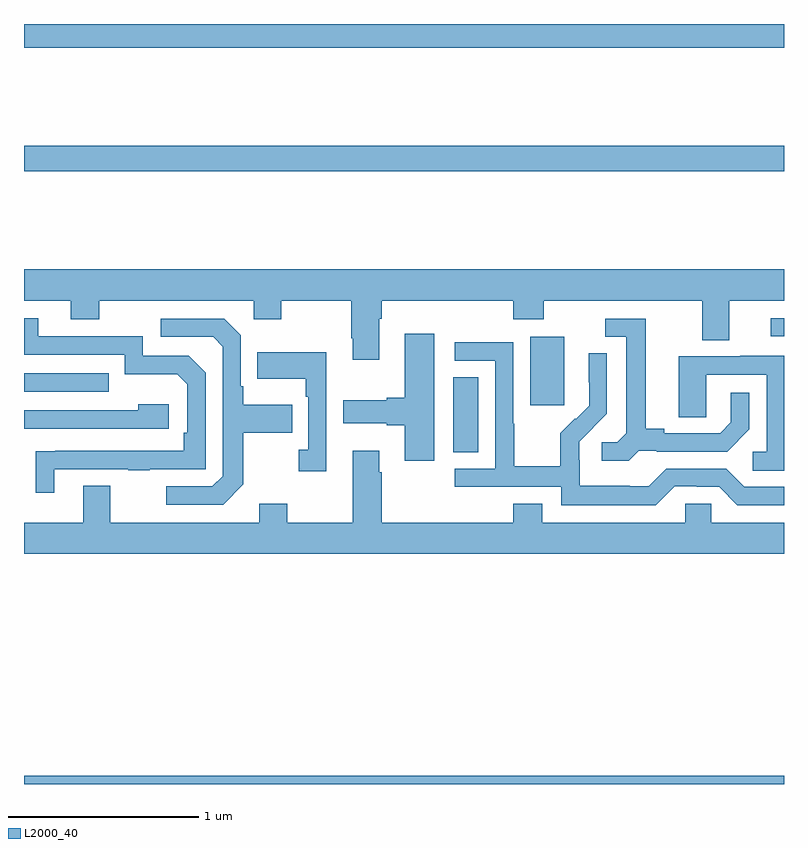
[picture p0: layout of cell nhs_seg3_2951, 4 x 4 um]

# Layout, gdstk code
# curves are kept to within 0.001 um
import gdstk
lib = gdstk.Library(unit=1e-6, precision=1e-09)
def R(c, l, rs):  # rectangles x0, y0, x1, y1
    for r in rs: c.add(gdstk.rectangle(r[:2], r[2:], *l))
def P(c, l, *ps):  # polygons
    for p in ps: c.add(gdstk.Polygon(p, *l))
L2000_40 = (2000, 40)

nhs_seg3_2951 = lib.new_cell('nhs_seg3_2951')
R(nhs_seg3_2951, L2000_40, [(265,670.4,269,670.444), (267.26,672.145,267.391,672.542), (267.665,672.393,267.844,672.754), (265,672.465,265.445,672.561), (268.929,672.756,269,672.852), (265,673.624,269,673.76), (265,674.276,269,674.4)])
P(nhs_seg3_2951, L2000_40, [(265,672.944),(265.247,672.944),(265.247,672.845),(265.395,672.845),(265.395,672.944),(266.208,672.944),(266.208,672.845),(266.355,672.845),(266.355,672.944),(266.722,672.944),(266.722,672.745),(266.729,672.745),(266.729,672.633),(266.869,672.633),(266.869,672.848),(266.882,672.848),(266.882,672.944),(267.575,672.944),(267.575,672.845),(267.735,672.845),(267.735,672.944),(268.571,672.944),(268.571,672.736),(268.711,672.736),(268.711,672.944),(269,672.944),(269,673.108),(265,673.108)],
  [(265.159,672.057),(265.549,672.057),(265.549,672.052),(265.661,672.052),(265.661,672.057),(265.956,672.057),(265.956,672.564),(265.866,672.654),(265.626,672.654),(265.626,672.756),(265.075,672.756),(265.075,672.852),(265,672.852),(265,672.66),(265.53,672.66),(265.53,672.557),(265.807,672.557),(265.86,672.504),(265.86,672.25),(265.84,672.25),(265.84,672.153),(265.063,672.152),(265.063,671.934),(265.159,671.934)],
  [(268.236,672.153),(268.33,672.153),(268.33,672.15),(268.702,672.15),(268.818,672.266),(268.818,672.46),(268.721,672.46),(268.721,672.303),(268.664,672.246),(268.369,672.246),(268.369,672.269),(268.273,672.269),(268.273,672.849),(268.059,672.849),(268.059,672.753),(268.169,672.753),(268.169,672.245),(268.122,672.198),(268.041,672.198),(268.041,672.101),(268.184,672.101)],
  [(266.155,671.977),(266.155,672.25),(266.411,672.25),(266.411,672.397),(266.155,672.397),(266.155,672.493),(266.142,672.493),(266.142,672.762),(266.055,672.849),(265.719,672.849),(265.719,672.753),(265.995,672.753),(266.046,672.702),(266.046,672.021),(265.992,671.967),(265.749,671.967),(265.749,671.871),(266.049,671.871)],
  [(267.16,672.769),(267.005,672.769),(267.005,672.434),(266.909,672.434),(266.909,672.421),(266.679,672.421),(266.679,672.299),(266.909,672.299),(266.909,672.287),(267.005,672.287),(267.005,672.102),(267.16,672.102)],
  [(268.425,671.967),(268.541,671.967),(268.541,671.964),(268.659,671.964),(268.755,671.868),(269,671.868),(269,671.964),(268.791,671.964),(268.695,672.06),(268.38,672.06),(268.287,671.967),(268.187,671.967),(268.187,671.971),(267.924,671.971),(267.924,672.105),(267.922,672.105),(267.922,672.202),(268.068,672.35),(268.068,672.668),(267.972,672.668),(267.972,672.514),(267.974,672.514),(267.974,672.392),(267.903,672.321),(267.9,672.324),(267.823,672.247),(267.823,672.073),(267.579,672.073),(267.579,672.296),(267.576,672.296),(267.576,672.726),(267.267,672.726),(267.267,672.627),(267.48,672.627),(267.48,672.06),(267.267,672.06),(267.267,671.964),(267.828,671.964),(267.828,671.867),(268.325,671.867)],
  [(266.592,672.673),(266.227,672.673),(266.227,672.533),(266.484,672.533),(266.484,672.437),(266.496,672.437),(266.496,672.158),(266.445,672.158),(266.445,672.045),(266.592,672.045)],
  [(269,672.655),(268.769,672.655),(268.769,672.651),(268.445,672.651),(268.445,672.331),(268.59,672.331),(268.59,672.555),(268.908,672.555),(268.908,672.15),(268.836,672.15),(268.836,672.049),(269,672.049)],
  [(265.762,672.4),(265.601,672.4),(265.601,672.366),(265,672.366),(265,672.27),(265.762,672.27)],
  [(265.313,671.971),(265.313,671.776),(265,671.776),(265,671.612),(269,671.612),(269,671.776),(268.617,671.776),(268.617,671.874),(268.479,671.874),(268.479,671.776),(267.727,671.776),(267.727,671.875),(267.575,671.875),(267.575,671.776),(266.882,671.776),(266.882,672.041),(266.869,672.041),(266.869,672.154),(266.729,672.154),(266.729,671.776),(266.385,671.776),(266.385,671.875),(266.237,671.875),(266.237,671.776),(265.453,671.776),(265.453,671.971)])

lib.write_gds('nhs_seg3_2951.gds')
